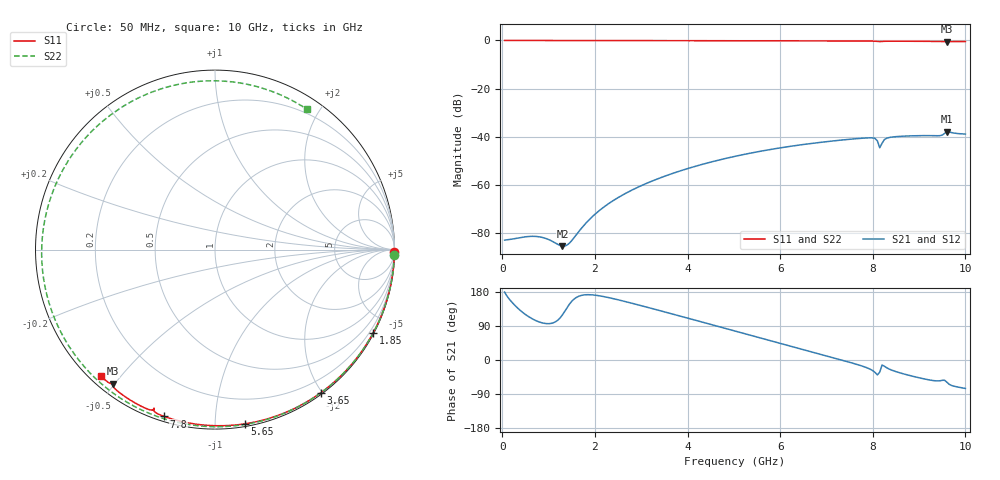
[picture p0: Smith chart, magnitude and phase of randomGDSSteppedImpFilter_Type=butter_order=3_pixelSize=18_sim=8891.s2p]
! freq	dB(S11)	phase(S11)	dB(S12)	phase(S12)
!  dB(S21)	phase(S21)	dB(S22)	phase(S22)
!S-par simulation data
#  GHz  S  DB  R 50
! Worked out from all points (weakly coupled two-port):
!   200 points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, 50 MHz to 10 GHz, reference 50 ohm
!   highest |S21| = -37.94 dB at 9.6 GHz (marker M1); lowest = -85.5 dB at 1.3 GHz (marker M2)
!   lowest |S11| = -0.5 dB at 9.6 GHz (marker M3), VSWR 32.18, Z = 1.93 - j24.7 ohm
!   |S11| at or under -10 dB: nowhere
!   |S22| runs from -0.6 to 0.0 dB; largest |S21 - S12| = 0
!   S11 on the Smith chart (normalised r, x): 50 MHz: open; 1.85 GHz: 0.04, -4.04; 3.65 GHz: 0.02, -1.98; 5.65 GHz: 0.02, -1.18; 7.8 GHz: 0.02, -0.74; 10 GHz: 0.03, -0.45
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0.05  -0.00 -0.8  -82.96 179.1  -82.96 179.1  -0.00 -1.6
0.65  -0.01 -9.9  -81.38 108.5  -81.38 108.5  -0.02 -20.8
1.3  -0.02 -19.6  -85.48 119.3  -85.48 119.3  -0.05 -41.1
1.6  -0.03 -24.1  -80.69 165.1  -80.69 165.1  -0.06 -50.2
1.75  -0.03 -26.3  -77.11 171.5  -77.11 171.5  -0.07 -54.8
1.85  -0.04 -27.8  -75.00 172.4  -75.00 172.4  -0.07 -57.8
2.5  -0.05 -37.3  -65.30 158.9  -65.30 158.9  -0.10 -76.9
3.4  -0.07 -50.1  -57.17 130.4  -57.17 130.4  -0.13 -102.1
3.65  -0.07 -53.6  -55.43 122.2  -55.43 122.2  -0.14 -109.0
5.05  -0.11 -72.5  -48.04 75.5  -48.04 75.5  -0.21 -146.2
5.65  -0.13 -80.3  -45.77 55.5  -45.77 55.5  -0.25 -162.2
6.7  -0.18 -93.5  -42.74 20.9  -42.74 20.9  -0.34 168.9
7.8  -0.25 -107.0  -40.58 -17.2  -40.58 -17.2  -0.43 135.8
8.05  -0.31 -110.3  -40.74 -33.0  -40.74 -33.0  -0.45 127.7
8.1  -0.38 -111.1  -41.73 -39.4  -41.73 -39.4  -0.46 126.1
8.15  -0.48 -111.1  -44.58 -31.9  -44.58 -31.9  -0.46 124.4
8.25  -0.35 -111.5  -41.20 -16.4  -41.20 -16.4  -0.47 121.1
8.35  -0.31 -112.9  -40.35 -23.6  -40.35 -23.6  -0.47 117.7
9  -0.35 -120.7  -39.56 -46.9  -39.56 -46.9  -0.52 94.8
9.45  -0.42 -126.3  -39.56 -54.9  -39.56 -54.9  -0.55 78.0
9.6  -0.54 -127.4  -37.94 -58.5  -37.94 -58.5  -0.57 72.2
10  -0.46 -132.0  -38.90 -75.1  -38.90 -75.1  -0.59 56.7
